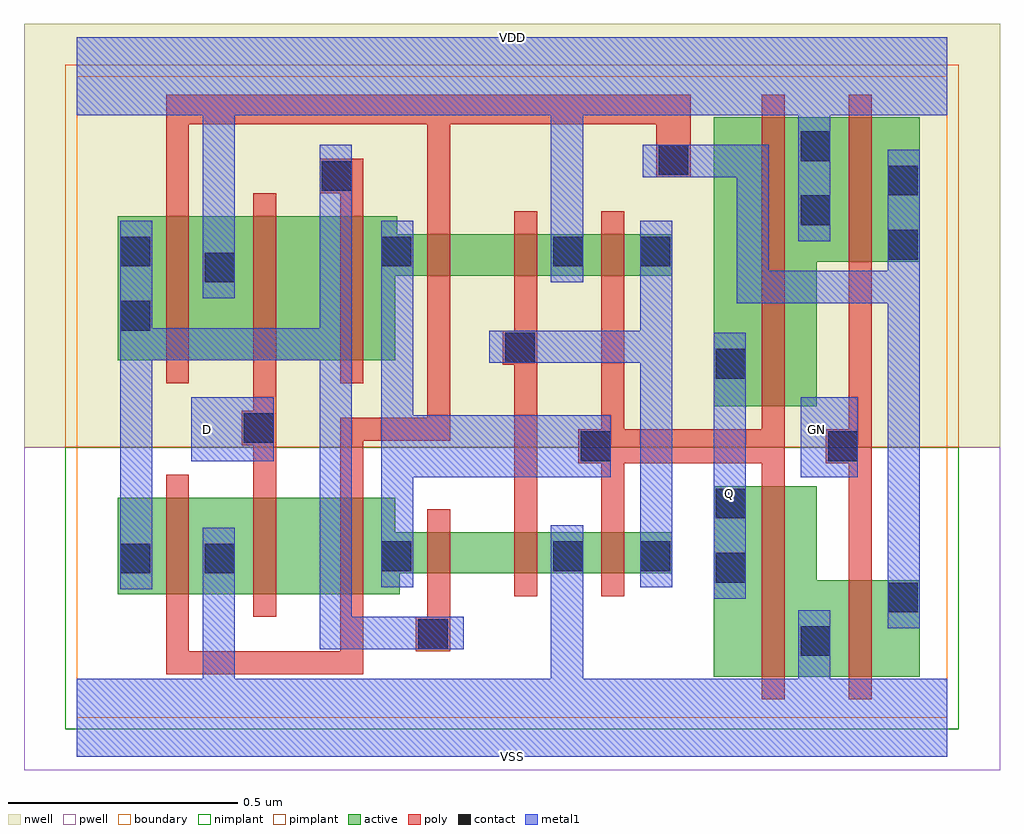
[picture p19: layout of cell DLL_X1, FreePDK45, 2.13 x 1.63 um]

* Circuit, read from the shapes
.subckt DLL_X1 D GN Q VDD VSS
M1 VSS n1 n2 VSUBS nfet w=0.21u l=0.05u
M2 n3 D VSS VSUBS nfet w=0.21u l=0.05u
M3 n4 n1 n3 VSUBS nfet w=0.21u l=0.05u
M4 n5 n2 n4 VSUBS nfet w=0.09u l=0.05u
M5 VSS n6 n5 VSUBS nfet w=0.09u l=0.05u
M6 n6 n4 VSS VSUBS nfet w=0.09u l=0.05u
M7 VSS n4 Q VSUBS nfet w=0.415u l=0.05u
M8 n1 GN VSS VSUBS nfet w=0.21u l=0.05u
M9 VDD n1 n2 n7 pfet w=0.315u l=0.05u
M10 n8 D VDD n7 pfet w=0.315u l=0.05u
M11 n4 n2 n8 n7 pfet w=0.315u l=0.05u
M12 n9 n1 n4 n7 pfet w=0.09u l=0.05u
M13 VDD n6 n9 n7 pfet w=0.09u l=0.05u
M14 n6 n4 VDD n7 pfet w=0.09u l=0.05u
M15 VDD n4 Q n7 pfet w=0.63u l=0.05u
M16 n1 GN VDD n7 pfet w=0.315u l=0.05u
.ends

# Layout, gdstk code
import gdstk
lib = gdstk.Library(unit=1e-6, precision=5e-10)
def R(c, l, rs):  # rectangles x0, y0, x1, y1
    for r in rs: c.add(gdstk.rectangle(r[:2], r[2:], *l))
def P(c, l, *ps):  # polygons
    for p in ps: c.add(gdstk.Polygon(p, *l))
active = (1, 0)
pwell = (2, 0)
nwell = (3, 0)
nimplant = (4, 0)
pimplant = (5, 0)
poly = (9, 0)
contact = (10, 0)
metal1 = (11, 0)
boundary = (235, 0)

dll_x1 = lib.new_cell('DLL_X1')
P(dll_x1, active, [(1.39,0.68),(1.615,0.68),(1.615,0.995),(1.84,0.995),(1.84,1.31),(1.39,1.31)],
  [(1.39,0.09),(1.84,0.09),(1.84,0.3),(1.615,0.3),(1.615,0.505),(1.39,0.505)],
  [(0.09,0.78),(0.695,0.78),(0.695,0.965),(1.3,0.965),(1.3,1.055),(0.7,1.055),(0.7,1.095),(0.09,1.095)],
  [(0.09,0.27),(0.705,0.27),(0.705,0.315),(1.3,0.315),(1.3,0.405),(0.695,0.405),(0.695,0.48),(0.09,0.48)])
R(dll_x1, pwell, [(-0.115,-0.115,2.015,0.59)])
R(dll_x1, nwell, [(-0.115,0.59,2.015,1.515)])
R(dll_x1, nimplant, [(-0.025,-0.025,1.925,0.59)])
R(dll_x1, pimplant, [(-0.025,0.59,1.925,1.425)])
P(dll_x1, poly, [(1.635,0.555),(1.685,0.555),(1.685,0.04),(1.735,0.04),(1.735,1.36),(1.685,1.36),(1.685,0.63),(1.635,0.63)],
  [(1.095,0.555),(1.145,0.555),(1.145,0.265),(1.195,0.265),(1.195,0.555),(1.495,0.555),(1.495,0.04),(1.545,0.04),(1.545,1.36),(1.495,1.36),(1.495,0.63),(1.195,0.63),(1.195,1.105),(1.145,1.105),(1.145,0.63),(1.095,0.63)],
  [(0.195,0.73),(0.245,0.73),(0.245,1.295),(0.765,1.295),(0.765,0.655),(0.575,0.655),(0.575,0.145),(0.245,0.145),(0.245,0.53),(0.195,0.53),(0.195,0.095),(0.625,0.095),(0.625,0.605),(0.815,0.605),(0.815,1.295),(1.265,1.295),(1.265,1.18),(1.34,1.18),(1.34,1.36),(0.195,1.36)],
  [(0.93,0.77),(0.955,0.77),(0.955,0.265),(1.005,0.265),(1.005,1.105),(0.955,1.105),(0.955,0.845),(0.93,0.845)],
  [(0.74,0.145),(0.815,0.145),(0.815,0.455),(0.765,0.455),(0.765,0.22),(0.74,0.22)],
  [(0.53,1.145),(0.575,1.145),(0.575,0.73),(0.625,0.73),(0.625,1.22),(0.53,1.22)],
  [(0.36,0.595),(0.385,0.595),(0.385,0.22),(0.435,0.22),(0.435,1.145),(0.385,1.145),(0.385,0.67),(0.36,0.67)])
R(dll_x1, contact, [(1.58,0.135,1.645,0.2), (0.745,0.15,0.81,0.215), (1.77,0.23,1.835,0.295), (1.395,0.295,1.46,0.36), (0.095,0.315,0.16,0.38), (0.28,0.315,0.345,0.38), (0.665,0.32,0.73,0.385), (1.04,0.32,1.105,0.385), (1.23,0.32,1.295,0.385), (1.395,0.435,1.46,0.5), (1.1,0.56,1.165,0.625), (1.64,0.56,1.705,0.625), (0.365,0.6,0.43,0.665), (1.395,0.74,1.46,0.805), (0.935,0.775,1,0.84), (0.095,0.845,0.16,0.91), (0.28,0.95,0.345,1.015), (0.095,0.985,0.16,1.05), (0.665,0.985,0.73,1.05), (1.04,0.985,1.105,1.05), (1.23,0.985,1.295,1.05), (1.77,1,1.835,1.065), (1.58,1.075,1.645,1.14), (1.77,1.14,1.835,1.205), (0.535,1.15,0.6,1.215), (1.27,1.185,1.335,1.25), (1.58,1.215,1.645,1.28)])
R(dll_x1, metal1, [(1.39,0.26,1.46,0.84), (1.39,0.26,1.46,0.84), (1.58,0.525,1.705,0.7), (1.58,0.525,1.705,0.7), (0.25,0.56,0.43,0.7), (0.25,0.56,0.43,0.7)])
P(dll_x1, metal1, [(0,-0.085),(1.9,-0.085),(1.9,0.085),(1.645,0.085),(1.645,0.235),(1.575,0.235),(1.575,0.085),(1.105,0.085),(1.105,0.42),(1.035,0.42),(1.035,0.085),(0.345,0.085),(0.345,0.415),(0.275,0.415),(0.275,0.085),(0,0.085)],
  [(0,1.315),(0.275,1.315),(0.275,0.915),(0.345,0.915),(0.345,1.315),(1.035,1.315),(1.035,0.95),(1.105,0.95),(1.105,1.315),(1.575,1.315),(1.575,1.04),(1.645,1.04),(1.645,1.315),(1.9,1.315),(1.9,1.485),(0,1.485)],
  [(0,1.315),(0.275,1.315),(0.275,0.915),(0.345,0.915),(0.345,1.315),(1.035,1.315),(1.035,0.95),(1.105,0.95),(1.105,1.315),(1.575,1.315),(1.575,1.04),(1.645,1.04),(1.645,1.315),(1.9,1.315),(1.9,1.485),(0,1.485)],
  [(0,-0.085),(1.9,-0.085),(1.9,0.085),(1.645,0.085),(1.645,0.235),(1.575,0.235),(1.575,0.085),(1.105,0.085),(1.105,0.42),(1.035,0.42),(1.035,0.085),(0.345,0.085),(0.345,0.415),(0.275,0.415),(0.275,0.085),(0,0.085)],
  [(1.235,1.18),(1.44,1.18),(1.44,0.905),(1.77,0.905),(1.77,0.195),(1.84,0.195),(1.84,1.24),(1.77,1.24),(1.77,0.975),(1.51,0.975),(1.51,1.25),(1.235,1.25)],
  [(0.9,0.775),(1.23,0.775),(1.23,0.285),(1.3,0.285),(1.3,1.085),(1.23,1.085),(1.23,0.845),(0.9,0.845)],
  [(0.665,0.285),(0.735,0.285),(0.735,0.525),(1.165,0.525),(1.165,0.66),(0.735,0.66),(0.735,1.085),(0.665,1.085)],
  [(0.095,0.28),(0.165,0.28),(0.165,0.78),(0.53,0.78),(0.53,0.15),(0.845,0.15),(0.845,0.22),(0.6,0.22),(0.6,1.25),(0.53,1.25),(0.53,0.85),(0.165,0.85),(0.165,1.085),(0.095,1.085)])
R(dll_x1, boundary, [(0,0,1.9,1.4)])
dll_x1.add(gdstk.Label('VSS', (0.95,-0.085), layer=11, texttype=0))
dll_x1.add(gdstk.Label('VDD', (0.95,1.485), layer=11, texttype=0))
dll_x1.add(gdstk.Label('Q', (1.425,0.49), layer=11, texttype=0))
dll_x1.add(gdstk.Label('GN', (1.615,0.63), layer=11, texttype=0))
dll_x1.add(gdstk.Label('D', (0.285,0.63), layer=11, texttype=0))

lib.write_gds('DLL_X1.gds')
